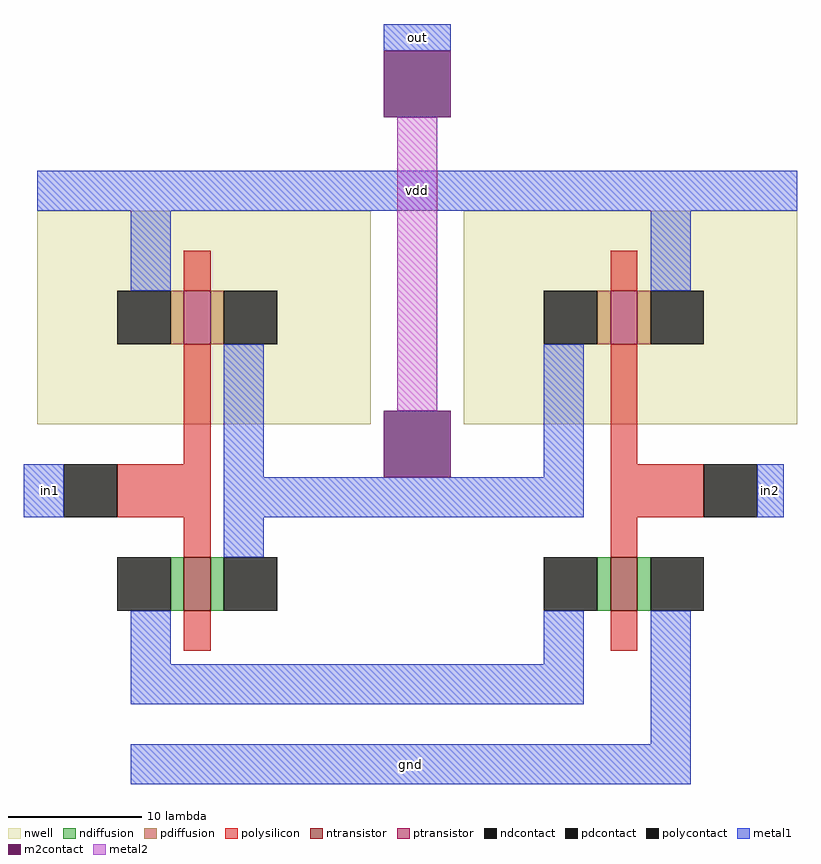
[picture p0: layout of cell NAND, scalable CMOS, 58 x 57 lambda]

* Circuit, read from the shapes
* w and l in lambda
.subckt NAND gnd in1 in2 out vdd
M1 out in1 n1 VSUBS nfet w=4 l=2
M2 gnd in2 n1 VSUBS nfet w=4 l=2
M3 out in1 vdd n2 pfet w=4 l=2
M4 vdd in2 out n3 pfet w=4 l=2
.ends

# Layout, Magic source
magic
tech scmos
<< nwell >>
rect 0 0 25 16
rect 32 0 57 16
<< ntransistor >>
rect 11 -14 13 -10
rect 43 -14 45 -10
<< ptransistor >>
rect 11 6 13 10
rect 43 6 45 10
<< ndiffusion >>
rect 10 -14 11 -10
rect 13 -14 14 -10
rect 42 -14 43 -10
rect 45 -14 46 -10
<< pdiffusion >>
rect 10 6 11 10
rect 13 6 14 10
rect 42 6 43 10
rect 45 6 46 10
<< ndcontact >>
rect 6 -14 10 -10
rect 14 -14 18 -10
rect 38 -14 42 -10
rect 46 -14 50 -10
<< pdcontact >>
rect 6 6 10 10
rect 14 6 18 10
rect 38 6 42 10
rect 46 6 50 10
<< polysilicon >>
rect 11 10 13 13
rect 43 10 45 13
rect 11 -3 13 6
rect 6 -7 13 -3
rect 11 -10 13 -7
rect 43 -3 45 6
rect 43 -7 50 -3
rect 43 -10 45 -7
rect 11 -17 13 -14
rect 43 -17 45 -14
<< polycontact >>
rect 2 -7 6 -3
rect 50 -7 54 -3
<< metal1 >>
rect 26 28 31 30
rect 0 16 57 19
rect 7 10 10 16
rect 46 10 49 16
rect -1 -7 2 -3
rect 14 -4 17 6
rect 38 -4 41 6
rect 14 -7 41 -4
rect 54 -7 56 -3
rect 14 -10 17 -7
rect 7 -18 10 -14
rect 38 -18 41 -14
rect 7 -21 41 -18
rect 46 -24 49 -14
rect 7 -27 49 -24
<< m2contact >>
rect 26 23 31 28
rect 26 -4 31 1
<< metal2 >>
rect 27 1 30 23
<< labels >>
rlabel metal1 0 16 57 19 5 vdd
rlabel metal1 0 -7 2 -3 3 in1
rlabel metal1 54 -7 56 -3 7 in2
rlabel metal1 26 28 31 30 5 out
rlabel metal1 7 -27 49 -24 1 gnd
<< end >>
